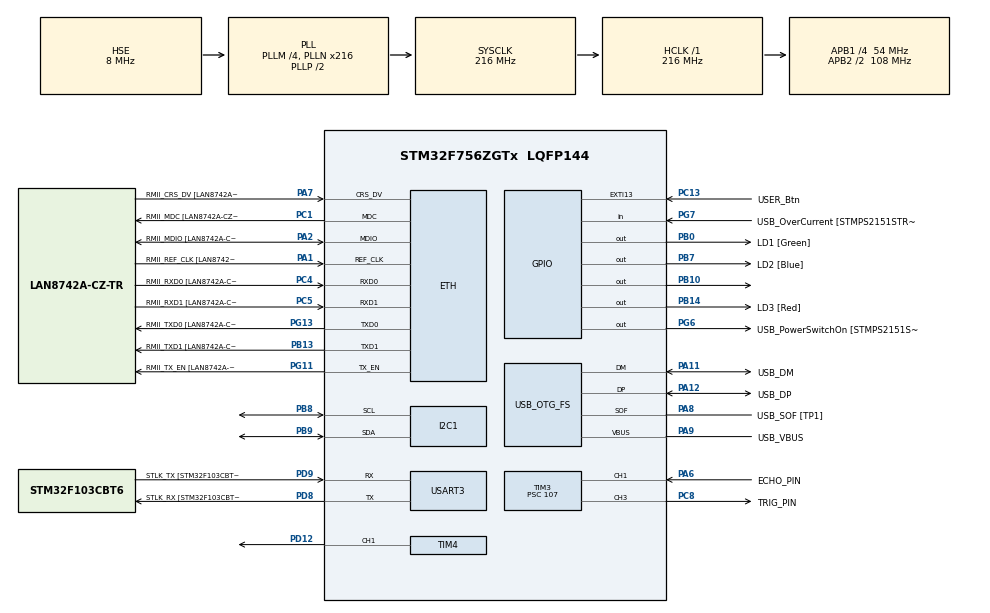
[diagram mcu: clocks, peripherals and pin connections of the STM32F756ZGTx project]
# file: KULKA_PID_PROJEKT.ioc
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ETH.MediaInterface=HAL_ETH_RMII_MODE
ETH.PHY_Name=LAN8742A_PHY_ADDRESS
ETH.PHY_Value=0
ETH.PhyAddress=0
I2C1.Timing=0x20404768
Mcu.Family=STM32F7
Mcu.Name=STM32F756ZGTx
Mcu.Package=LQFP144
NVIC.EXTI15_10_IRQn=true\:0\:0\:false\:false\:true\:true\:true\:true
NVIC.PriorityGroup=NVIC_PRIORITYGROUP_4
NVIC.TIM1_CC_IRQn=true\:0\:0\:false\:false\:true\:true\:true\:true
NVIC.TIM1_UP_TIM10_IRQn=true\:0\:0\:false\:false\:true\:true\:true\:true
NVIC.TIM3_IRQn=true\:0\:0\:false\:false\:true\:true\:true\:true
PA1.GPIO_Label=RMII_REF_CLK [LAN8742A-CZ-TR_REFCLK0]
PA1.Mode=RMII
PA1.Signal=ETH_REF_CLK
PA10.GPIO_Label=USB_ID
PA10.Signal=USB_OTG_FS_ID
PA11.GPIO_Label=USB_DM
PA11.Mode=Device_Only
PA11.Signal=USB_OTG_FS_DM
PA12.GPIO_Label=USB_DP
PA12.Mode=Device_Only
PA12.Signal=USB_OTG_FS_DP
PA13.GPIO_Label=TMS
PA13.Mode=Serial_Wire
PA13.Signal=SYS_JTMS-SWDIO
PA14.GPIO_Label=TCK
PA14.Mode=Serial_Wire
PA14.Signal=SYS_JTCK-SWCLK
PA2.GPIO_Label=RMII_MDIO [LAN8742A-CZ-TR_MDIO]
PA2.Mode=RMII
PA2.Signal=ETH_MDIO
PA6.GPIO_Label=ECHO_PIN
PA6.Signal=S_TIM3_CH1
PA7.GPIO_Label=RMII_CRS_DV [LAN8742A-CZ-TR_CRS_DV]
PA7.Mode=RMII
PA7.Signal=ETH_CRS_DV
PA8.GPIO_Label=USB_SOF [TP1]
PA8.Mode=Activate_SOF_FS
PA8.Signal=USB_OTG_FS_SOF
PA9.GPIO_Label=USB_VBUS
PA9.Mode=Activate_VBUS
PA9.Signal=USB_OTG_FS_VBUS
PB0.GPIO_Label=LD1 [Green]
PB0.Signal=GPIO_Output
PB10.Signal=GPIO_Output
PB13.GPIO_Label=RMII_TXD1 [LAN8742A-CZ-TR_TXD1]
PB13.Mode=RMII
PB13.Signal=ETH_TXD1
PB14.GPIO_Label=LD3 [Red]
PB14.Signal=GPIO_Output
PB3.GPIO_Label=SW0
PB3.Signal=SYS_JTDO-SWO
PB7.GPIO_Label=LD2 [Blue]
PB7.Signal=GPIO_Output
PB8.Mode=I2C
PB8.Signal=I2C1_SCL
PB9.Mode=I2C
PB9.Signal=I2C1_SDA
PC1.GPIO_Label=RMII_MDC [LAN8742A-CZ-TR_MDC]
PC1.Mode=RMII
PC1.Signal=ETH_MDC
PC13.GPIO_Label=USER_Btn
PC13.Signal=GPXTI13
PC14/OSC32_IN.Mode=LSE-External-Oscillator
PC14/OSC32_IN.Signal=RCC_OSC32_IN
PC15/OSC32_OUT.Mode=LSE-External-Oscillator
PC15/OSC32_OUT.Signal=RCC_OSC32_OUT
PC4.GPIO_Label=RMII_RXD0 [LAN8742A-CZ-TR_RXD0]
PC4.Mode=RMII
PC4.Signal=ETH_RXD0
PC5.GPIO_Label=RMII_RXD1 [LAN8742A-CZ-TR_RXD1]
PC5.Mode=RMII
PC5.Signal=ETH_RXD1
PC8.GPIO_Label=TRIG_PIN
PC8.Signal=S_TIM3_CH3
PD12.Signal=S_TIM4_CH1
PD8.GPIO_Label=STLK_RX [STM32F103CBT6_PA3]
PD8.Mode=Asynchronous
PD8.Signal=USART3_TX
PD9.GPIO_Label=STLK_TX [STM32F103CBT6_PA2]
PD9.Mode=Asynchronous
PD9.Signal=USART3_RX
PG11.GPIO_Label=RMII_TX_EN [LAN8742A-CZ-TR_TXEN]
PG11.Mode=RMII
PG11.Signal=ETH_TX_EN
PG13.GPIO_Label=RMII_TXD0 [LAN8742A-CZ-TR_TXD0]
PG13.Mode=RMII
PG13.Signal=ETH_TXD0
PG6.GPIO_Label=USB_PowerSwitchOn [STMPS2151STR_EN]
PG6.Signal=GPIO_Output
PG7.GPIO_Label=USB_OverCurrent [STMPS2151STR_FAULT]
PG7.Signal=GPIO_Input
PH0/OSC_IN.GPIO_Label=MCO [STM32F103CBT6_PA8]
PH0/OSC_IN.Mode=HSE-External-Clock-Source
PH0/OSC_IN.Signal=RCC_OSC_IN
PH1/OSC_OUT.Mode=HSE-External-Clock-Source
PH1/OSC_OUT.Signal=RCC_OSC_OUT
ProjectManager.HeapSize=0x200
ProjectManager.StackSize=0x400
ProjectManager.TargetToolchain=STM32CubeIDE
RCC.48MHZClocksFreq_Value=24000000
RCC.AHBFreq_Value=216000000
RCC.APB1CLKDivider=RCC_HCLK_DIV4
RCC.APB1Freq_Value=54000000
RCC.APB1TimFreq_Value=108000000
RCC.APB2CLKDivider=RCC_HCLK_DIV2
RCC.APB2Freq_Value=108000000
RCC.APB2TimFreq_Value=216000000
RCC.CortexFreq_Value=216000000
RCC.HCLKFreq_Value=216000000
RCC.HSE_VALUE=8000000
RCC.HSI_VALUE=16000000
RCC.PLLM=4
RCC.PLLMUL=RCC_PLL_MUL9
RCC.PLLN=216
RCC.PLLQ=9
RCC.PRESCALERUSB=RCC_USBCLKSOURCE_PLL_DIV1_5
RCC.SYSCLKFreq_VALUE=216000000
RCC.SYSCLKSource=RCC_SYSCLKSOURCE_PLLCLK
RCC.SYSCLKSourceVirtual=RCC_SYSCLKSOURCE_PLLCLK
RCC.USBFreq_Value=48000000
RCC.VCOOutputFreq_Value=432000000
SH.S_TIM3_CH1.0=TIM3_CH1,Input_Capture1_from_TI1
SH.S_TIM3_CH3.0=TIM3_CH3,PWM Generation3 CH3
SH.S_TIM4_CH1.0=TIM4_CH1,PWM Generation1 CH1
TIM1.Period=9999
TIM1.Prescaler=863
TIM3.Channel-Input_Capture1_from_TI1=TIM_CHANNEL_1
TIM3.Channel-Input_Capture2_from_TI1_63=TIM_CHANNEL_2
TIM3.Channel-PWM\ Generation3\ CH3=TIM_CHANNEL_3
TIM3.ICPolarity_CH2=TIM_INPUTCHANNELPOLARITY_FALLING
TIM3.Period=65535
TIM3.Prescaler=107
TIM3.Pulse-PWM\ Generation3\ CH3=10
TIM4.Channel-PWM\ Generation1\ CH1=TIM_CHANNEL_1
TIM4.Channel-PWM\ Generation2\ CH2=TIM_CHANNEL_2
TIM4.Period=19999
TIM4.Prescaler=215
TIM4.Pulse-PWM\ Generation1\ CH1=1000
USART3.VirtualMode-Asynchronous=VM_ASYNC
USB_OTG_FS.VirtualMode=Device_Only
VP_TIM10_VS_ClockSourceINT.Mode=Enable_Timer
VP_TIM1_VS_ClockSourceINT.Mode=Internal
VP_TIM3_VS_ClockSourceINT.Mode=Internal
VP_TIM3_VS_indirect_ch1.Mode=Input_Capture2_from_TI1_63
VP_TIM4_VS_ClockSourceINT.Mode=Internal
board=NUCLEO-F756ZG

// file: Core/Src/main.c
/* USER CODE BEGIN Header */
/**
  ******************************************************************************
  * @file           : main.c
  * @brief          : Main program body
  ******************************************************************************
  * @attention
  *
  * Copyright (c) 2025 STMicroelectronics.
  * All rights reserved.
  *
  * This software is licensed under terms that can be found in the LICENSE file
  * in the root directory of this software component.
  * If no LICENSE file comes with this software, it is provided AS-IS.
  *
  ******************************************************************************
  */
/* USER CODE END Header */
#include "main.h"
#include "eth.h"
#include "i2c.h"
#include "tim.h"
#include "usart.h"
#include "usb_otg.h"
#include "gpio.h"

/* USER CODE BEGIN Includes */

#include "stdlib.h"
#include "stdio.h"
#include "string.h"

#include "HCSR04.h"
#include "SG90.h"
#include "PID.h"

/* USER CODE END Includes */

/* USER CODE BEGIN PTD */

HCSR04_Sensor_HandleType HCSR04_Sensor;
SG90_Servo_HandleType SG90_Servo;
PID_HandleType PID_Controller;

/* USER CODE END PTD */

/* USER CODE BEGIN PV */

/* USER CODE END PD */

/* Private variables ---------------------------------------------------------*/

/* USER CODE BEGIN PV */

float distance;
_Bool xStartStopProgram = 1;
float PID_Sygnal;

/* USER CODE END PV */

void SystemClock_Config(void);

/* USER CODE BEGIN 0 */

// START/STOP programu za pomocą USER BUTTON

void HAL_GPIO_EXTI_Callback(uint16_t GPIO_Pin)
{

	if(GPIO_Pin == USER_Btn_Pin){

		char tx_buffer[64];

		if(xStartStopProgram == 0){
			xStartStopProgram = 1;
			int len = sprintf(tx_buffer, "Uruchomiono Program. Stan: %d\r\n", xStartStopProgram);
			HAL_UART_Transmit(&huart3, tx_buffer, len, 100);
		}
		else if(xStartStopProgram == 1){
			xStartStopProgram = 0;
			int len = sprintf(tx_buffer, "Zatrzymano Program. Stan: %d\r\n", xStartStopProgram);
			HAL_UART_Transmit(&huart3, tx_buffer, len, 100);
		}
	}
}

// PRÓBKOWANIE 100 ms (10Hz) odległości piłki od czujnika

void HAL_TIM_PeriodElapsedCallback(TIM_HandleTypeDef *htim)
{

	if(htim->Instance == TIM1 && xStartStopProgram == 1){

		distance = 100 * HCSR04_Get_Distance(&HCSR04_Sensor);

		PID_Controller_Calculate(&HCSR04_Sensor, &SG90_Servo, &PID_Controller);

		SG90_Set_Angle(&SG90_Servo);

		PID_Sygnal = PID_Controller.PID_total;

	}
}

/* USER CODE END PV */

/* Private function prototypes -----------------------------------------------*/
void SystemClock_Config(void);
/* USER CODE BEGIN PFP */

/* USER CODE END PFP */

/* Private user code ---------------------------------------------------------*/
/* USER CODE BEGIN 0 */

/* USER CODE END 0 */

int main(void)
{

  /* MCU Configuration--------------------------------------------------------*/

  /* Reset of all peripherals, Initializes the Flash interface and the Systick. */
  HAL_Init();

  /* Configure the system clock */
  SystemClock_Config();

  /* Initialize all configured peripherals */
  MX_GPIO_Init();
  MX_ETH_Init();
  MX_I2C1_Init();
  MX_USART3_UART_Init();
  MX_USB_OTG_FS_PCD_Init();
  MX_TIM3_Init();
  MX_TIM10_Init();
  MX_TIM4_Init();
  MX_TIM1_Init();
  /* USER CODE BEGIN 2 */

  HAL_TIM_IC_Start(&htim3, TIM_CHANNEL_1);		// Odczytywanie zbocza narastającego z Echo
  HAL_TIM_IC_Start(&htim3, TIM_CHANNEL_2);		// Odczytywanie zbocza opadającego z Echo
  HAL_TIM_PWM_Start(&htim3, TIM_CHANNEL_3);		// Sygnał Trig do czujnika

  HAL_TIM_Base_Start_IT(&htim1);				// stałe próbkowanie 25 Hz

  HAL_TIM_PWM_Start(&htim4, TIM_CHANNEL_1);   	// SYGNAL PWM DO STEROWANIA SERWO zakres PWM max. (350 - 1000)

  HCSR04_Init(&HCSR04_Sensor, &htim3, TIM_CHANNEL_3, &htim3, TIM_CHANNEL_1, &htim3, TIM_CHANNEL_2);		// inicjalizacja czujnika
  SG90_Init(&SG90_Servo, &htim4, TIM_CHANNEL_1);														// inicjalizacja servonapędu
  PID_Controller_Init(&PID_Controller);

  /* USER CODE END 2 */

  /* Infinite loop */
  /* USER CODE BEGIN WHILE */

  while (1)
  {

	  float pid_value = distance;

	  		int val_int = (int)pid_value;
	  		int val_frac = (int)((pid_value - val_int) * 100);
	  		if (val_frac < 0) val_frac *= -1;

	  		char buffer[20];
	  		int len = sprintf(buffer, "%d.%02d\r\n", val_int, val_frac);

	  		HAL_UART_Transmit(&huart3, (uint8_t*)buffer, len, 100);
	  		HAL_Delay(100);

    /* USER CODE END WHILE */

  }
}

void SystemClock_Config(void)
{
  RCC_OscInitTypeDef RCC_OscInitStruct = {0};
  RCC_ClkInitTypeDef RCC_ClkInitStruct = {0};

  /** Configure LSE Drive Capability
  */
  HAL_PWR_EnableBkUpAccess();

  /** Configure the main internal regulator output voltage
  */
  __HAL_RCC_PWR_CLK_ENABLE();
  __HAL_PWR_VOLTAGESCALING_CONFIG(PWR_REGULATOR_VOLTAGE_SCALE1);

  /** Initializes the RCC Oscillators according to the specified parameters
  * in the RCC_OscInitTypeDef structure.
  */
  RCC_OscInitStruct.OscillatorType = RCC_OSCILLATORTYPE_HSE;
  RCC_OscInitStruct.HSEState = RCC_HSE_BYPASS;
  RCC_OscInitStruct.PLL.PLLState = RCC_PLL_ON;
  RCC_OscInitStruct.PLL.PLLSource = RCC_PLLSOURCE_HSE;
  RCC_OscInitStruct.PLL.PLLM = 4;
  RCC_OscInitStruct.PLL.PLLN = 216;
  RCC_OscInitStruct.PLL.PLLP = RCC_PLLP_DIV2;
  RCC_OscInitStruct.PLL.PLLQ = 9;
  if (HAL_RCC_OscConfig(&RCC_OscInitStruct) != HAL_OK)
  {
    Error_Handler();
  }

  /** Activate the Over-Drive mode
  */
  if (HAL_PWREx_EnableOverDrive() != HAL_OK)
  {
    Error_Handler();
  }

  /** Initializes the CPU, AHB and APB buses clocks
  */
  RCC_ClkInitStruct.ClockType = RCC_CLOCKTYPE_HCLK|RCC_CLOCKTYPE_SYSCLK
                              |RCC_CLOCKTYPE_PCLK1|RCC_CLOCKTYPE_PCLK2;
  RCC_ClkInitStruct.SYSCLKSource = RCC_SYSCLKSOURCE_PLLCLK;
  RCC_ClkInitStruct.AHBCLKDivider = RCC_SYSCLK_DIV1;
  RCC_ClkInitStruct.APB1CLKDivider = RCC_HCLK_DIV4;
  RCC_ClkInitStruct.APB2CLKDivider = RCC_HCLK_DIV2;

  if (HAL_RCC_ClockConfig(&RCC_ClkInitStruct, FLASH_LATENCY_7) != HAL_OK)
  {
    Error_Handler();
  }
}

void Error_Handler(void)
{
  __disable_irq();
  while (1)
  {
  }
}
